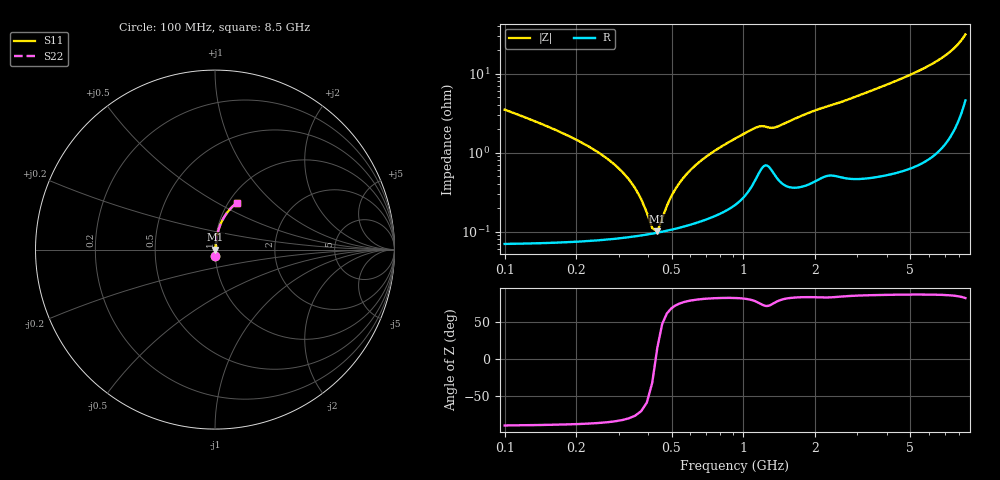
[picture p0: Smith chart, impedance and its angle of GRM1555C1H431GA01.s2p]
!Murata Part Number: GRM1555C1H431GA01
!These Parameters are Measured in Series Mode Connection
!Data Generated on Mar 30, 2021
!  o--ll--o
!Port1  Port2
!  o------o
!Operation Temp=25[degC], DC Bias Voltage=0[V]
!Freq. Start=100[MHz] Stop=9[GHz] 401[Steps]
# Hz S RI R 50
!Freq.(Hz) S11(Real) S11(Imag) S21(Real) S21(Imag) S12(Real) S12(Imag) S22(Real) S22(Imag)
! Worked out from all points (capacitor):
!   401 points, 100 MHz to 8.5 GHz, reference 50 ohm
!   read as one part in series: C = 430 pF near 142 MHz
!   lowest |Z| = 101 mohm at 436 MHz (marker M1)
!   series resonance near 429.5 MHz, so ESL is about 320 pH
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1e8  0.00192 -0.0349  0.9981 0.0349  0.9981 0.0349  0.00192 -0.0349
1.42e8  0.00125 -0.0232  0.9987 0.0232  0.9987 0.0232  0.00125 -0.0232
2.89e8  0.000861 -0.00699  0.9991 0.00699  0.9991 0.00699  0.000861 -0.00699
3.31e8  0.000872 -0.00453  0.9991 0.00453  0.9991 0.00453  0.000872 -0.00453
3.94e8  0.000922 -0.00148  0.9991 0.00148  0.9991 0.00148  0.000922 -0.00148
4.15e8  0.000945 -0.000587  0.9991 0.000587  0.9991 0.000587  0.000945 -0.000587
4.36e8  0.000972 0.000264  0.999 -0.000264  0.999 -0.000264  0.000972 0.000264
4.57e8  0.001 0.00107  0.999 -0.00107  0.999 -0.00107  0.001 0.00107
5.2e8  0.0011 0.00332  0.9989 -0.00332  0.9989 -0.00332  0.0011 0.00332
5.83e8  0.00122 0.00536  0.9988 -0.00536  0.9988 -0.00536  0.00122 0.00536
6.46e8  0.00137 0.00725  0.9986 -0.00725  0.9986 -0.00725  0.00137 0.00725
7.51e8  0.00166 0.0102  0.9983 -0.0102  0.9983 -0.0102  0.00166 0.0102
9.19e8  0.00237 0.0147  0.9976 -0.0147  0.9976 -0.0147  0.00237 0.0147
1.129e9  0.00507 0.02  0.9949 -0.02  0.9949 -0.02  0.00507 0.02
1.339e9  0.00583 0.0197  0.9942 -0.0197  0.9942 -0.0197  0.00583 0.0197
1.507e9  0.00432 0.0234  0.9957 -0.0234  0.9957 -0.0234  0.00432 0.0234
2.032e9  0.00562 0.0343  0.9944 -0.0343  0.9944 -0.0343  0.00562 0.0343
2.914e9  0.00708 0.0495  0.9929 -0.0495  0.9929 -0.0495  0.00708 0.0495
4.3e9  0.0116 0.078  0.9884 -0.078  0.9884 -0.078  0.0116 0.078
5.707e9  0.0206 0.1135  0.9794 -0.1135  0.9794 -0.1135  0.0206 0.1135
7.114e9  0.042 0.1654  0.958 -0.1654  0.958 -0.1654  0.042 0.1654
8.5e9  0.1204 0.2597  0.8796 -0.2597  0.8796 -0.2597  0.1204 0.2597
